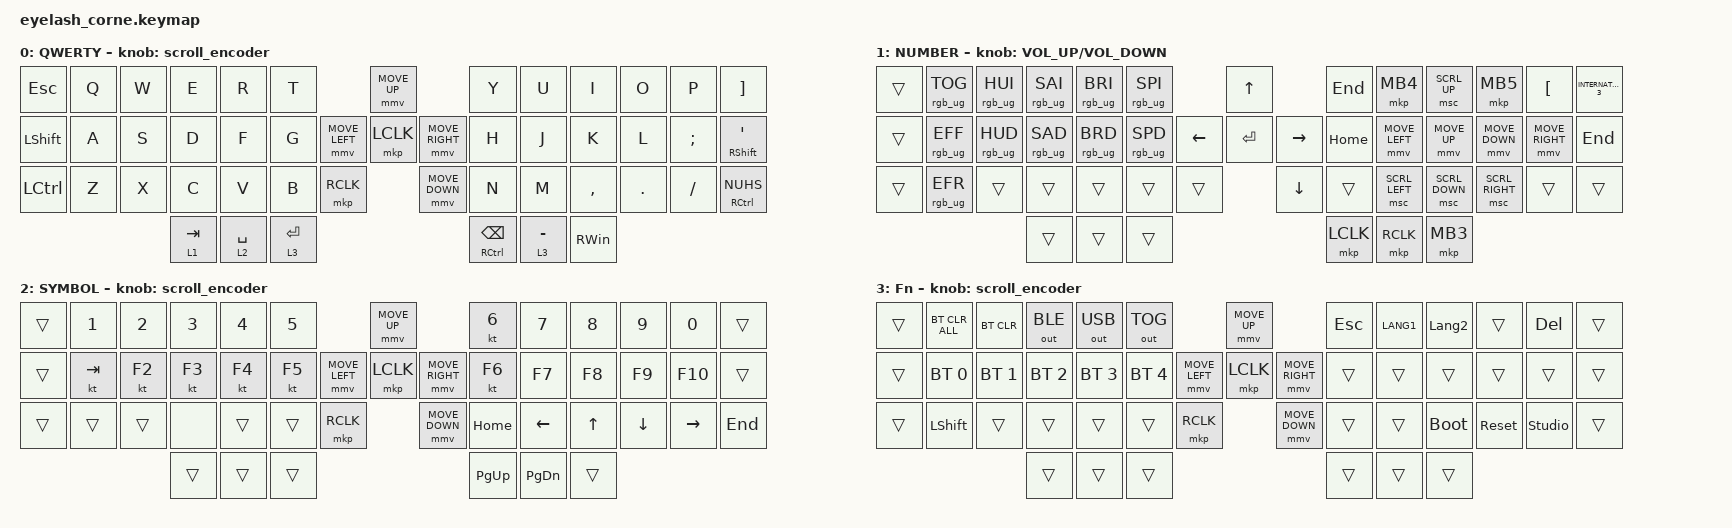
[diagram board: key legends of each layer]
#define ZMK_POINTING_DEFAULT_MOVE_VAL 1200  // 600
#define ZMK_POINTING_DEFAULT_SCRL_VAL 25   // 10

#include <input/processors.dtsi>
#include <zephyr/dt-bindings/input/input-event-codes.h>
#include <behaviors.dtsi>
#include <dt-bindings/zmk/bt.h>
#include <dt-bindings/zmk/keys.h>
#include <dt-bindings/zmk/outputs.h>
#include <dt-bindings/zmk/pointing.h>
#include <dt-bindings/zmk/rgb.h>

&mmv_input_listener { input-processors = <&zip_xy_scaler 2 1>; };

&msc_input_listener { input-processors = <&zip_scroll_scaler 2 1>; };

&msc {
    acceleration-exponent = <1>;      // 0
    time-to-max-speed-ms = <100>;       // 300
    delay-ms = <0>;                   // 0
};

&mmv {
    time-to-max-speed-ms = <500>;
    acceleration-exponent = <1>;
    trigger-period-ms = <16>;
};

&soft_off { hold-time-ms = <2000>; };

/ {
    behaviors {
        td0: td0 {
            compatible = "zmk,behavior-tap-dance";
            display-name = "Shift/Caps Lock Tap Dance";
            #binding-cells = <0>;
            bindings = <&kp LEFT_SHIFT>, <&kp CAPS>;
        };
    };

    rgb_encoder: rgb_encoder {
        compatible = "zmk,behavior-sensor-rotate";
        #sensor-binding-cells = <0>;
        bindings = <&rgb_ug RGB_BRI>, <&rgb_ug RGB_BRD>;
    };

    scroll_encoder: scroll_encoder {
        compatible = "zmk,behavior-sensor-rotate";
        #sensor-binding-cells = <0>;
        bindings = <&msc SCRL_DOWN>, <&msc SCRL_UP>;

        tap-ms = <100>;
    };

    combos {
        compatible = "zmk,combos";

        softoff {
            bindings = <&soft_off>;
            key-positions = <1 15 29>;
        };
    };

    keymap {
        compatible = "zmk,keymap";

        default_layer {
            display-name = "QWERTY";
            bindings = <
&kp ESC         &kp Q  &kp W  &kp E      &kp R        &kp T                                     &mmv MOVE_UP                     &kp Y                &kp U        &kp I          &kp O    &kp P     &kp RBKT
&kp LEFT_SHIFT  &kp A  &kp S  &kp D      &kp F        &kp G                     &mmv MOVE_LEFT  &mkp LCLK       &mmv MOVE_RIGHT  &kp H                &kp J        &kp K          &kp L    &kp SEMI  &mt RIGHT_SHIFT SINGLE_QUOTE
&kp LCTRL       &kp Z  &kp X  &kp C      &kp V        &kp B        &mkp RCLK                    &mmv MOVE_DOWN                   &kp N                &kp M        &kp COMMA      &kp DOT  &kp FSLH  &mt RCTRL NUHS
                              &lt 1 TAB  &lt 2 SPACE  &lt 3 ENTER                                                                &mt RCTRL BACKSPACE  &lt 3 MINUS  &kp RIGHT_WIN
            >;

            sensor-bindings = <&scroll_encoder>;
        };

        lower_layer {
            display-name = "NUMBER";
            bindings = <
&trans  &rgb_ug RGB_TOG  &rgb_ug RGB_HUI  &rgb_ug RGB_SAI  &rgb_ug RGB_BRI  &rgb_ug RGB_SPI                      &kp UP                &kp END    &mkp MB4        &msc SCRL_UP    &mkp MB5         &kp LBKT         &kp INTERNATIONAL_3
&trans  &rgb_ug RGB_EFF  &rgb_ug RGB_HUD  &rgb_ug RGB_SAD  &rgb_ug RGB_BRD  &rgb_ug RGB_SPD            &kp LEFT  &kp ENTER  &kp RIGHT  &kp HOME   &mmv MOVE_LEFT  &mmv MOVE_UP    &mmv MOVE_DOWN   &mmv MOVE_RIGHT  &kp END
&trans  &rgb_ug RGB_EFR  &trans           &trans           &trans           &trans           &trans              &kp DOWN              &trans     &msc SCRL_LEFT  &msc SCRL_DOWN  &msc SCRL_RIGHT  &trans           &trans
                                          &trans           &trans           &trans                                                     &mkp LCLK  &mkp RCLK       &mkp MB3
            >;

            sensor-bindings = <&inc_dec_kp K_VOLUME_UP K_VOLUME_DOWN>;
        };

        raise_layer {
            display-name = "SYMBOL";
            bindings = <
&trans  &kp NUMBER_1  &kp NUMBER_2  &kp NUMBER_3  &kp NUMBER_4  &kp NUMBER_5                               &mmv MOVE_UP                     &kt NUMBER_6  &kp NUMBER_7   &kp NUMBER_8  &kp NUMBER_9  &kp NUMBER_0  &trans
&trans  &kt TAB       &kt F2        &kt F3        &kt F4        &kt F5                     &mmv MOVE_LEFT  &mkp LCLK       &mmv MOVE_RIGHT  &kt F6        &kp F7         &kp F8        &kp F9        &kp F10       &trans
&trans  &trans        &trans        &none         &trans        &trans        &mkp RCLK                    &mmv MOVE_DOWN                   &kp HOME      &kp LEFT       &kp UP        &kp DOWN      &kp RIGHT     &kp END
                                    &trans        &trans        &trans                                                                      &kp PAGE_UP   &kp PAGE_DOWN  &trans
            >;

            sensor-bindings = <&scroll_encoder>;
        };

        layer_3 {
            display-name = "Fn";
            bindings = <
&trans  &bt BT_CLR_ALL  &bt BT_CLR    &out OUT_BLE  &out OUT_USB  &out OUT_TOG                               &mmv MOVE_UP                     &kp ESCAPE  &kp LANG1  &kp LANGUAGE_2  &trans      &kp DEL         &trans
&trans  &bt BT_SEL 0    &bt BT_SEL 1  &bt BT_SEL 2  &bt BT_SEL 3  &bt BT_SEL 4               &mmv MOVE_LEFT  &mkp LCLK       &mmv MOVE_RIGHT  &trans      &trans     &trans          &trans      &trans          &trans
&trans  &kp LEFT_SHIFT  &trans        &trans        &trans        &trans        &mkp RCLK                    &mmv MOVE_DOWN                   &trans      &trans     &bootloader     &sys_reset  &studio_unlock  &trans
                                      &trans        &trans        &trans                                                                      &trans      &trans     &trans
            >;

            sensor-bindings = <&scroll_encoder>;
        };
    };
};
